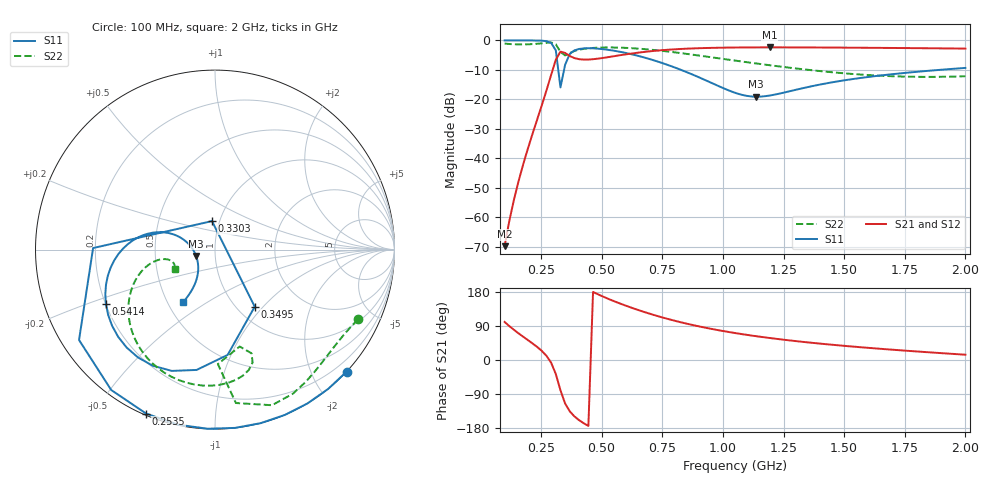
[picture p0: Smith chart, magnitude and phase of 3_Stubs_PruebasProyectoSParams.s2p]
! Created Sat Nov 25 14:37:30 2023
# hz S ri R 50
! 2 Port Network Data from SP1.SP block
! freq  reS11  imS11  reS21  imS21  reS12  imS12  reS22  imS22
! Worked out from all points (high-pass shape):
!   100 points, 100 MHz to 2 GHz, reference 50 ohm
!   highest |S21| = -2.34 dB at 1.194 GHz (marker M1); lowest = -69.8 dB at 100 MHz (marker M2)
!   |S21| within 3 dB of the highest: 319.4 MHz to 370.4 MHz (51.01 MHz wide, 14.8 % of centre); 550.9 MHz to end of sweep
!   lowest |S11| = -19.1 dB at 1.136 GHz (marker M3), VSWR 1.25, Z = 40.4 - j2.93 ohm
!   |S11| at or under -10 dB: 321.2 MHz to 345.1 MHz (23.85 MHz wide, 7.16 % of centre); 828 MHz to 1.891 GHz (1.063 GHz wide, 78.2 % of centre)
!   |S22| runs from -12.4 to -0.7 dB; largest |S21 - S12| = 1.4e-15
!   S11 on the Smith chart (normalised r, x): 100 MHz: 0.00, -2.55; 253.5 MHz: 0.01, -0.66; 330.3 MHz: 0.92, +0.30; 349.5 MHz: 1.20, -0.90; 541.4 MHz: 0.20, -0.23; 2 GHz: 0.60, -0.40
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1e8  0.7334 -0.6798  -5.86e-05 0.000319  -5.86e-05 0.000319  0.7955 -0.3894
1.575758e8  0.3897 -0.9209  0.00139 0.00387  0.00139 0.00387  0.6917 -0.5063
2.151515e8  -0.0411 -0.998  0.0189 0.018  0.0189 0.018  0.5928 -0.6334
2.535354e8  -0.3835 -0.9137  0.0732 0.0324  0.0732 0.0324  0.5036 -0.7389
2.727273e8  -0.5784 -0.782  0.1398 0.0272  0.1398 0.0272  0.4341 -0.8029
2.919192e8  -0.7575 -0.5037  0.2592 -0.0328  0.2592 -0.0328  0.3175 -0.8671
3.111111e8  -0.6792 0.00862  0.3764 -0.2843  0.3764 -0.2843  0.1163 -0.8547
3.30303e8  -0.0167 0.1588  0.1115 -0.6367  0.1115 -0.6367  0.016 -0.6377
3.494949e8  0.2213 -0.3182  -0.2583 -0.5565  -0.2583 -0.5565  0.1375 -0.54
3.686869e8  0.0704 -0.5867  -0.3886 -0.3815  -0.3886 -0.3815  0.2036 -0.5777
3.878788e8  -0.1024 -0.6705  -0.4299 -0.2596  -0.4299 -0.2596  0.2095 -0.6288
4.262626e8  -0.3474 -0.6467  -0.4615 -0.1071  -0.4615 -0.1071  0.1546 -0.7029
4.838384e8  -0.5395 -0.486  -0.4881 0.054  -0.4881 0.054  0.0241 -0.7536
5.414141e8  -0.6075 -0.3048  -0.493 0.202  -0.493 0.202  -0.1155 -0.7514
7.333333e8  -0.4309 0.0667  -0.2903 0.6093  -0.2903 0.6093  -0.436 -0.5181
8.868687e8  -0.2362 0.0864  -0.00927 0.735  -0.00927 0.735  -0.4808 -0.2971
1.059596e9  -0.1258 0.00467  0.2574 0.7147  0.2574 0.7147  -0.4266 -0.1439
1.136364e9  -0.1052 -0.0358  0.3476 0.6791  0.3476 0.6791  -0.394 -0.1053
1.193939e9  -0.0972 -0.0643  0.4049 0.6473  0.4049 0.6473  -0.3701 -0.0851
1.366667e9  -0.0962 -0.137  0.5337 0.5418  0.5337 0.5418  -0.3078 -0.0558
1.692929e9  -0.1324 -0.231  0.662 0.3439  0.662 0.3439  -0.2388 -0.0668
2e9  -0.1772 -0.2927  0.7063 0.1756  0.7063 0.1756  -0.2238 -0.1054
